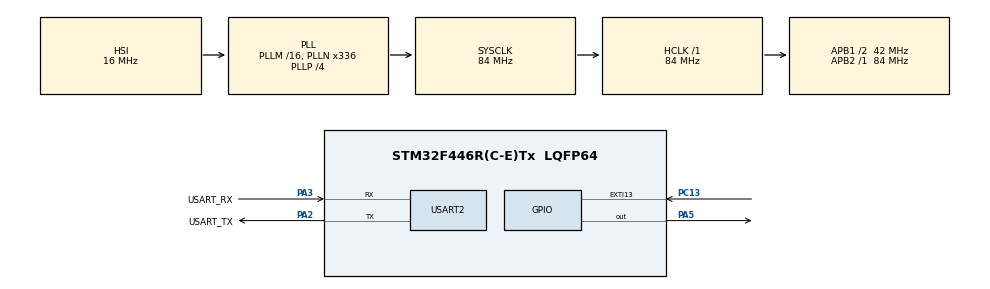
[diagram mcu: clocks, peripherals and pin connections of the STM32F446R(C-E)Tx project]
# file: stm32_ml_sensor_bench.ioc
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Mcu.Family=STM32F4
Mcu.Name=STM32F446R(C-E)Tx
Mcu.Package=LQFP64
NUCLEO-F446RE.BUTTON=1
NUCLEO-F446RE.LD1=true
NVIC.EXTI15_10_IRQn=true\:0\:0\:false\:false\:true\:false\:true\:true
NVIC.PriorityGroup=NVIC_PRIORITYGROUP_0
PA13.GPIO_Label=TMS
PA13.Signal=SYS_JTMS-SWDIO
PA14.GPIO_Label=TCK
PA14.Signal=SYS_JTCK-SWCLK
PA2.GPIO_Label=USART_TX
PA2.Mode=Asynchronous
PA2.Signal=USART2_TX
PA3.GPIO_Label=USART_RX
PA3.Mode=Asynchronous
PA3.Signal=USART2_RX
PA5.Signal=GPIO_Output
PB3.GPIO_Label=SWO
PB3.Signal=SYS_JTDO-SWO
PC13.Signal=GPXTI13
PC14-OSC32_IN.Signal=RCC_OSC32_IN
PC15-OSC32_OUT.Signal=RCC_OSC32_OUT
PH0-OSC_IN.Signal=RCC_OSC_IN
PH1-OSC_OUT.Signal=RCC_OSC_OUT
ProjectManager.HeapSize=0x200
ProjectManager.StackSize=0x400
ProjectManager.TargetToolchain=CMake
RCC.AHBFreq_Value=84000000
RCC.APB1CLKDivider=RCC_HCLK_DIV2
RCC.APB1Freq_Value=42000000
RCC.APB1TimFreq_Value=84000000
RCC.APB2Freq_Value=84000000
RCC.APB2TimFreq_Value=84000000
RCC.CortexFreq_Value=84000000
RCC.FLatency-AdvancedSettings=FLASH_LATENCY_2
RCC.HCLKFreq_Value=84000000
RCC.HSE_VALUE=8000000
RCC.HSI_VALUE=16000000
RCC.LSE_VALUE=32768
RCC.PLLN=336
RCC.PLLP=RCC_PLLP_DIV4
RCC.SYSCLKFreq_VALUE=84000000
RCC.SYSCLKSource=RCC_SYSCLKSOURCE_PLLCLK
RCC.USBFreq_Value=168000000
RCC.VCOOutputFreq_Value=336000000
USART2.VirtualMode=VM_ASYNC
VP_NUCLEO-F446RE_VS_BSP_COMMON.Mode=COMMON
board=NUCLEO-F446RE

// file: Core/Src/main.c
/* USER CODE BEGIN Header */
/**
  ******************************************************************************
  * @file           : main.c
  * @brief          : Main program body
  ******************************************************************************
  * @attention
  *
  * Copyright (c) 2026 STMicroelectronics.
  * All rights reserved.
  *
  * This software is licensed under terms that can be found in the LICENSE file
  * in the root directory of this software component.
  * If no LICENSE file comes with this software, it is provided AS-IS.
  *
  ******************************************************************************
  */
/* USER CODE END Header */
#include "main.h"

/* USER CODE BEGIN Includes */
#include <stdio.h>
#include <string.h>
#include "ml_bench.h"
/* USER CODE END Includes */

UART_HandleTypeDef huart2;

void SystemClock_Config(void);
static void MX_GPIO_Init(void);
static void MX_USART2_UART_Init(void);

/* USER CODE BEGIN 0 */
static void dwt_counter_init(void)
{
  CoreDebug->DEMCR |= CoreDebug_DEMCR_TRCENA_Msk;
  DWT->CYCCNT = 0;
  DWT->CTRL |= DWT_CTRL_CYCCNTENA_Msk;
}

static void uart_write(const char *text)
{
  HAL_UART_Transmit(&huart2, (uint8_t *)text,
                    strlen(text), HAL_MAX_DELAY);
}
/* USER CODE END 0 */

int main(void)
{

  /* MCU Configuration--------------------------------------------------------*/

  /* Reset of all peripherals, Initializes the Flash interface and the Systick. */
  HAL_Init();

  /* Configure the system clock */
  SystemClock_Config();

  /* Initialize all configured peripherals */
  MX_GPIO_Init();
  MX_USART2_UART_Init();
  /* USER CODE BEGIN 2 */
  dwt_counter_init();

  uart_write("\r\nSTM32 ML Sensor Bench\r\n");
  uart_write("DWT cycle counter ready\r\n");

  ml_bench_result_t benchmark = ml_bench_run_reference();
  char message[160];
  snprintf(message, sizeof(message),
           "reference_int8_dot,iterations=%lu,score=%ld,total_cycles=%lu,cycles_per_run=%lu\r\n",
           (unsigned long)benchmark.iterations,
           (long)benchmark.score,
           (unsigned long)benchmark.total_cycles,
           (unsigned long)benchmark.cycles_per_run);
  uart_write(message);
  /* USER CODE END 2 */

  /* Initialize leds */
  BSP_LED_Init(LED2);

  /* Initialize USER push-button, will be used to trigger an interrupt each time it's pressed.*/
  BSP_PB_Init(BUTTON_USER, BUTTON_MODE_EXTI);

  /* Infinite loop */
  while (1)
  {

    /* USER CODE BEGIN 3 */
    BSP_LED_Toggle(LED2);
    HAL_Delay(250);
  }
  /* USER CODE END 3 */
}

void SystemClock_Config(void)
{
  RCC_OscInitTypeDef RCC_OscInitStruct = {0};
  RCC_ClkInitTypeDef RCC_ClkInitStruct = {0};

  /** Configure the main internal regulator output voltage
  */
  __HAL_RCC_PWR_CLK_ENABLE();
  __HAL_PWR_VOLTAGESCALING_CONFIG(PWR_REGULATOR_VOLTAGE_SCALE3);

  /** Initializes the RCC Oscillators according to the specified parameters
  * in the RCC_OscInitTypeDef structure.
  */
  RCC_OscInitStruct.OscillatorType = RCC_OSCILLATORTYPE_HSI;
  RCC_OscInitStruct.HSIState = RCC_HSI_ON;
  RCC_OscInitStruct.HSICalibrationValue = RCC_HSICALIBRATION_DEFAULT;
  RCC_OscInitStruct.PLL.PLLState = RCC_PLL_ON;
  RCC_OscInitStruct.PLL.PLLSource = RCC_PLLSOURCE_HSI;
  RCC_OscInitStruct.PLL.PLLM = 16;
  RCC_OscInitStruct.PLL.PLLN = 336;
  RCC_OscInitStruct.PLL.PLLP = RCC_PLLP_DIV4;
  RCC_OscInitStruct.PLL.PLLQ = 2;
  RCC_OscInitStruct.PLL.PLLR = 2;
  if (HAL_RCC_OscConfig(&RCC_OscInitStruct) != HAL_OK)
  {
    Error_Handler();
  }

  /** Initializes the CPU, AHB and APB buses clocks
  */
  RCC_ClkInitStruct.ClockType = RCC_CLOCKTYPE_HCLK|RCC_CLOCKTYPE_SYSCLK
                              |RCC_CLOCKTYPE_PCLK1|RCC_CLOCKTYPE_PCLK2;
  RCC_ClkInitStruct.SYSCLKSource = RCC_SYSCLKSOURCE_PLLCLK;
  RCC_ClkInitStruct.AHBCLKDivider = RCC_SYSCLK_DIV1;
  RCC_ClkInitStruct.APB1CLKDivider = RCC_HCLK_DIV2;
  RCC_ClkInitStruct.APB2CLKDivider = RCC_HCLK_DIV1;

  if (HAL_RCC_ClockConfig(&RCC_ClkInitStruct, FLASH_LATENCY_2) != HAL_OK)
  {
    Error_Handler();
  }
}

static void MX_USART2_UART_Init(void)
{

  huart2.Instance = USART2;
  huart2.Init.BaudRate = 115200;
  huart2.Init.WordLength = UART_WORDLENGTH_8B;
  huart2.Init.StopBits = UART_STOPBITS_1;
  huart2.Init.Parity = UART_PARITY_NONE;
  huart2.Init.Mode = UART_MODE_TX_RX;
  huart2.Init.HwFlowCtl = UART_HWCONTROL_NONE;
  huart2.Init.OverSampling = UART_OVERSAMPLING_16;
  if (HAL_UART_Init(&huart2) != HAL_OK)
  {
    Error_Handler();
  }

}

static void MX_GPIO_Init(void)
{

  /* GPIO Ports Clock Enable */
  __HAL_RCC_GPIOC_CLK_ENABLE();
  __HAL_RCC_GPIOH_CLK_ENABLE();
  __HAL_RCC_GPIOA_CLK_ENABLE();
  __HAL_RCC_GPIOB_CLK_ENABLE();

}

void Error_Handler(void)
{
  __disable_irq();
  while (1)
  {
  }
}
